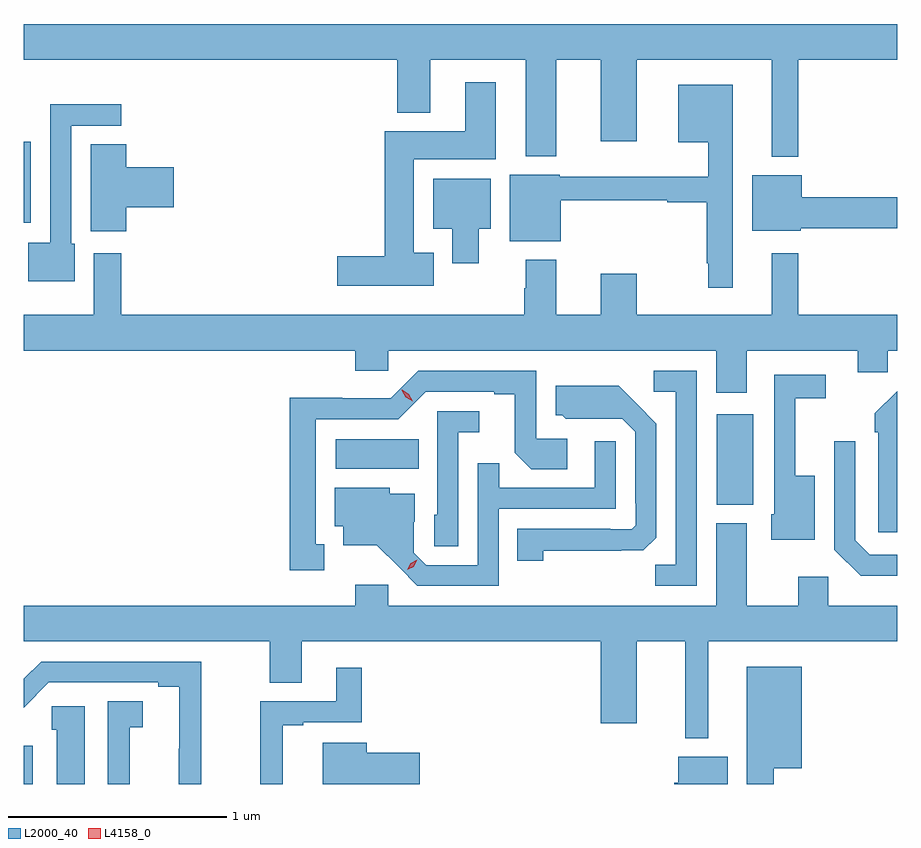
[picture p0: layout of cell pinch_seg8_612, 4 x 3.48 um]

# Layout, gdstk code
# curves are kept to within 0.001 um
import gdstk
lib = gdstk.Library(unit=1e-6, precision=1e-09)
def R(c, l, rs):  # rectangles x0, y0, x1, y1
    for r in rs: c.add(gdstk.rectangle(r[:2], r[2:], *l))
def P(c, l, *ps):  # polygons
    for p in ps: c.add(gdstk.Polygon(p, *l))
L2000_40 = (2000, 40)
L4158_0 = (4158, 0)

pinch_seg8_612 = lib.new_cell('pinch_seg8_612')
R(pinch_seg8_612, L2000_40, [(198.329,1097.199,198.37,1097.374), (201.503,1098.479,201.67,1098.892), (199.758,1098.644,200.138,1098.778), (198.329,1099.77,198.361,1100.14)])
P(pinch_seg8_612, L2000_40, [(201.877,1100.516),(202.329,1100.516),(202.329,1100.68),(198.329,1100.68),(198.329,1100.516),(200.039,1100.516),(200.039,1100.273),(200.191,1100.273),(200.191,1100.516),(200.627,1100.516),(200.627,1100.075),(200.767,1100.075),(200.767,1100.516),(200.972,1100.516),(200.972,1100.142),(201.136,1100.142),(201.136,1100.516),(201.755,1100.516),(201.755,1100.072),(201.877,1100.072)],
  [(200.206,1099.633),(200.116,1099.633),(200.116,1100.06),(200.491,1100.06),(200.491,1100.413),(200.351,1100.413),(200.351,1100.188),(199.982,1100.188),(199.982,1099.616),(199.764,1099.616),(199.764,1099.481),(200.206,1099.481)],
  [(201.577,1100.401),(201.326,1100.401),(201.326,1100.138),(201.463,1100.138),(201.463,1099.981),(200.784,1099.981),(200.784,1099.99),(200.555,1099.99),(200.555,1099.685),(200.788,1099.685),(200.788,1099.872),(201.277,1099.872),(201.277,1099.864),(201.456,1099.864),(201.456,1099.585),(201.463,1099.585),(201.463,1099.473),(201.577,1099.473)],
  [(198.562,1099.674),(198.546,1099.674),(198.546,1100.214),(198.775,1100.214),(198.775,1100.312),(198.45,1100.312),(198.45,1099.678),(198.35,1099.678),(198.35,1099.502),(198.562,1099.502)],
  [(198.797,1099.841),(199.015,1099.841),(199.015,1100.024),(198.797,1100.024),(198.797,1100.129),(198.635,1100.129),(198.635,1099.731),(198.797,1099.731)],
  [(201.888,1099.744),(202.329,1099.744),(202.329,1099.886),(201.892,1099.886),(201.892,1099.987),(201.665,1099.987),(201.665,1099.733),(201.888,1099.733)],
  [(200.413,1099.742),(200.467,1099.742),(200.467,1099.972),(200.204,1099.972),(200.204,1099.742),(200.291,1099.742),(200.291,1099.584),(200.413,1099.584)],
  [(201.64,1099.184),(202.148,1099.184),(202.148,1099.086),(202.287,1099.086),(202.287,1099.184),(202.329,1099.184),(202.329,1099.348),(201.877,1099.348),(201.877,1099.63),(201.755,1099.63),(201.755,1099.348),(201.136,1099.348),(201.136,1099.537),(200.972,1099.537),(200.972,1099.348),(200.767,1099.348),(200.767,1099.6),(200.627,1099.6),(200.627,1099.469),(200.62,1099.469),(200.62,1099.348),(198.776,1099.348),(198.776,1099.63),(198.65,1099.63),(198.65,1099.348),(198.329,1099.348),(198.329,1099.184),(199.847,1099.184),(199.847,1099.091),(199.998,1099.091),(199.998,1099.184),(201.5,1099.184),(201.5,1098.99),(201.64,1098.99)],
  [(201.411,1099.092),(201.213,1099.092),(201.213,1098.996),(201.315,1098.996),(201.315,1098.203),(201.22,1098.203),(201.22,1098.108),(201.411,1098.108)],
  [(199.705,1098.297),(199.666,1098.297),(199.666,1098.87),(200.043,1098.87),(200.169,1098.996),(200.483,1098.996),(200.483,1098.984),(200.577,1098.984),(200.577,1098.716),(200.653,1098.64),(200.818,1098.64),(200.818,1098.78),(200.676,1098.78),(200.676,1099.092),(200.136,1099.092),(200.01,1098.966),(199.788,1098.966),(199.788,1098.968),(199.548,1098.968),(199.548,1098.177),(199.705,1098.177)],
  [(201.952,1098.61),(201.863,1098.61),(201.863,1098.966),(202.003,1098.966),(202.003,1099.074),(201.765,1099.074),(201.765,1098.435),(201.752,1098.435),(201.752,1098.317),(201.952,1098.317)],
  [(200.709,1098.268),(201.166,1098.269),(201.225,1098.328),(201.225,1098.85),(201.053,1099.024),(200.765,1099.024),(200.765,1098.888),(200.796,1098.888),(200.812,1098.872),(201.069,1098.873),(201.129,1098.813),(201.129,1098.484),(201.132,1098.484),(201.132,1098.384),(201.114,1098.366),(201.014,1098.366),(201.014,1098.369),(200.59,1098.369),(200.59,1098.222),(200.709,1098.222)],
  [(202.329,1098.999),(202.227,1098.897),(202.227,1098.809),(202.242,1098.809),(202.242,1098.351),(202.329,1098.351)],
  [(200.319,1098.809),(200.416,1098.809),(200.416,1098.906),(200.223,1098.906),(200.223,1098.432),(200.208,1098.432),(200.208,1098.289),(200.319,1098.289)],
  [(202.329,1098.249),(202.203,1098.249),(202.137,1098.315),(202.137,1098.769),(202.041,1098.769),(202.041,1098.273),(202.162,1098.152),(202.329,1098.152)],
  [(200.505,1098.459),(201.039,1098.459),(201.039,1098.769),(200.943,1098.769),(200.943,1098.555),(200.507,1098.555),(200.507,1098.668),(200.409,1098.668),(200.409,1098.201),(200.172,1098.201),(200.115,1098.258),(200.115,1098.4),(200.119,1098.4),(200.119,1098.529),(200.004,1098.529),(200.004,1098.556),(199.754,1098.556),(199.754,1098.38),(199.793,1098.38),(199.793,1098.293),(199.945,1098.293),(200.132,1098.108),(200.505,1098.108)],
  [(201.463,1097.852),(202.329,1097.852),(202.329,1098.016),(202.014,1098.016),(202.014,1098.148),(201.875,1098.148),(201.875,1098.016),(201.64,1098.016),(201.64,1098.394),(201.5,1098.394),(201.5,1098.016),(199.998,1098.016),(199.998,1098.112),(199.847,1098.112),(199.847,1098.016),(198.329,1098.016),(198.329,1097.852),(199.456,1097.852),(199.456,1097.662),(199.603,1097.662),(199.603,1097.852),(200.972,1097.852),(200.972,1097.478),(201.136,1097.478),(201.136,1097.852),(201.359,1097.852),(201.359,1097.408),(201.463,1097.408)],
  [(199.142,1097.76),(198.408,1097.76),(198.329,1097.681),(198.329,1097.549),(198.444,1097.664),(198.944,1097.664),(198.944,1097.644),(199.04,1097.644),(199.04,1097.361),(199.039,1097.361),(199.039,1097.199),(199.142,1097.199)],
  [(201.763,1097.27),(201.892,1097.27),(201.892,1097.737),(201.641,1097.737),(201.641,1097.199),(201.763,1097.199)],
  [(199.514,1097.469),(199.609,1097.469),(199.609,1097.481),(199.877,1097.481),(199.877,1097.731),(199.76,1097.731),(199.76,1097.577),(199.411,1097.577),(199.411,1097.199),(199.514,1097.199)],
  [(198.813,1097.459),(198.874,1097.459),(198.874,1097.579),(198.714,1097.579),(198.714,1097.199),(198.813,1097.199)],
  [(198.607,1097.554),(198.457,1097.554),(198.457,1097.448),(198.479,1097.448),(198.479,1097.199),(198.607,1097.199)],
  [(200.143,1097.342),(199.9,1097.342),(199.9,1097.389),(199.697,1097.389),(199.697,1097.199),(200.143,1097.199)],
  [(201.553,1097.323),(201.326,1097.323),(201.326,1097.205),(201.308,1097.205),(201.308,1097.199),(201.553,1097.199)])
P(pinch_seg8_612, L4158_0, [(200.084,1098.18),(200.084,1098.18),(200.101,1098.21),(200.131,1098.225),(200.131,1098.225),(200.131,1098.225),(200.114,1098.195),(200.084,1098.18)],
  [(200.111,1098.951),(200.079,1098.97),(200.061,1099.003),(200.061,1099.004),(200.062,1099.004),(200.093,1098.984),(200.111,1098.952),(200.111,1098.951)])

lib.write_gds('pinch_seg8_612.gds')
